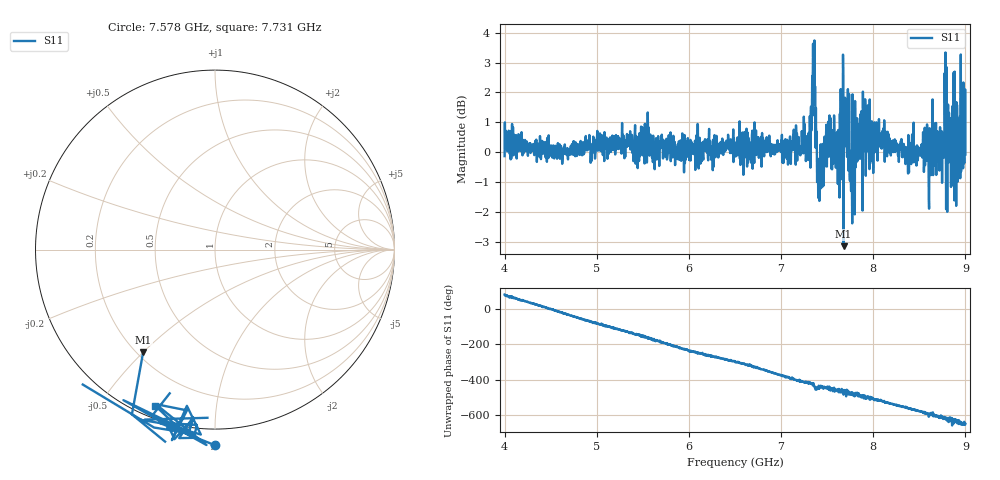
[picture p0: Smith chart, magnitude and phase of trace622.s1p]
! Created with skrf 1.8.0 (http://scikit-rf.org).
# Hz S RI R 50.0
!freq ReS11 ImS11
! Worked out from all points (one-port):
!   1601 points, 4 GHz to 9 GHz, reference 50 ohm
!   lowest |S11| = -3.1 dB at 7.678 GHz (marker M1), VSWR 5.58, Z = 11.3 - j24.9 ohm
!   |S11| at or under -10 dB: nowhere
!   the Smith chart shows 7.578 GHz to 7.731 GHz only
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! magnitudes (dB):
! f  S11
! 4 GHz  -0.1
! 4.625 GHz  -0.4
! 5.25 GHz  0.3
! 5.875 GHz  -0.2
! 6.5 GHz  0.3
! 7.125 GHz  0.2
! 7.294 GHz  -0.3
! 7.347 GHz  3.6
! 7.369 GHz  2.2
! 7.4 GHz  -0.2
! 7.428 GHz  0.3
! 7.512 GHz  1.0
! 7.609 GHz  0.1
! 7.65 GHz  1.6
! 7.678 GHz  -3.1
! 7.716 GHz  -0.2
! 7.75 GHz  -0.4
! 7.769 GHz  -1.2
! 7.8 GHz  -2.1
! 7.928 GHz  0.4
! 7.981 GHz  -0.3
! 8.097 GHz  0.5
! 8.375 GHz  -0.2
! 8.625 GHz  -0.8
! 8.8 GHz  0.5
! 8.841 GHz  1.1
! 8.956 GHz  0.1
! 9 GHz  -0.1
